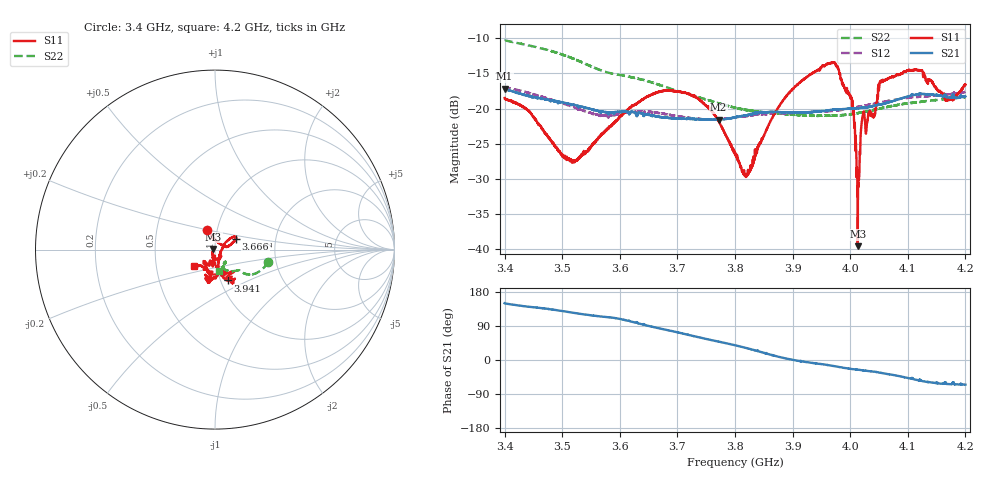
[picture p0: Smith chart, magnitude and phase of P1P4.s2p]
# GHZ S DB R 50.000000000000
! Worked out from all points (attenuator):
!   4501 points, 3.4 GHz to 4.2 GHz, reference 50 ohm
!   highest |S21| = -17.17 dB at 3.4 GHz (marker M1); lowest = -21.6 dB at 3.771 GHz (marker M2)
!   lowest |S11| = -39.6 dB at 4.013 GHz (marker M3), VSWR 1.02, Z = 49 + j0.416 ohm
!   |S11| at or under -10 dB: start of sweep to end of sweep
!   |S22| runs from -21.1 to -10.3 dB; largest |S21 - S12| = 0.015
!   S11 on the Smith chart (normalised r, x): 3.4 GHz: 0.89, +0.20; 3.666 GHz: 1.25, +0.15; 3.941 GHz: 1.08, -0.39; 4.2 GHz: 0.78, -0.15
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3.4  -18.48 113.0  -17.17 149.8  -17.01 155.7  -10.33 -13.1
3.503822  -26.83 73.5  -19.18 128.1  -19.35 126.1  -12.43 -35.6
3.533511  -26.47 32.8  -19.70 121.2  -20.20 119.1  -13.36 -38.9
3.6656  -17.69 26.9  -21.11 84.5  -20.58 83.9  -16.52 -53.6
3.666844  -17.64 26.8  -21.15 84.1  -20.61 83.6  -16.57 -53.7
3.729778  -18.29 35.1  -21.50 62.6  -21.40 61.0  -18.22 -63.9
3.771378  -21.78 35.6  -21.59 49.0  -21.49 48.4  -19.22 -64.1
3.8  -26.54 18.6  -21.23 38.9  -21.27 39.4  -19.88 -60.7
3.821689  -29.45 -29.4  -20.94 30.8  -21.07 31.8  -20.24 -56.7
3.876089  -19.70 -78.9  -20.48 8.3  -20.68 11.6  -20.72 -50.0
3.933511  -15.01 -70.5  -20.50 -7.6  -20.46 -7.4  -20.99 -50.0
3.941333  -14.61 -67.5  -20.40 -9.0  -20.38 -9.7  -21.05 -50.3
3.973333  -13.55 -61.5  -20.12 -16.4  -20.32 -17.6  -20.97 -53.6
4.000178  -18.07 -73.7  -19.99 -23.3  -19.96 -23.9  -20.80 -57.2
4.004978  -20.49 -85.2  -19.99 -24.3  -19.86 -25.2  -20.73 -57.5
4.013156  -39.55 156.2  -19.95 -25.4  -19.78 -28.2  -20.64 -58.8
4.021867  -20.91 -97.8  -19.87 -27.6  -19.64 -29.3  -20.50 -59.8
4.040711  -21.18 -126.6  -19.59 -30.6  -19.31 -34.0  -20.19 -62.3
4.066844  -15.67 -94.5  -19.11 -37.8  -18.88 -40.4  -19.72 -65.1
4.121778  -14.55 -101.7  -17.83 -52.7  -18.21 -53.1  -19.06 -69.2
4.168356  -18.77 -116.0  -18.39 -63.3  -18.01 -64.3  -18.64 -73.9
4.2  -16.59 -142.0  -18.27 -65.1  -17.62 -69.3  -18.34 -78.7
